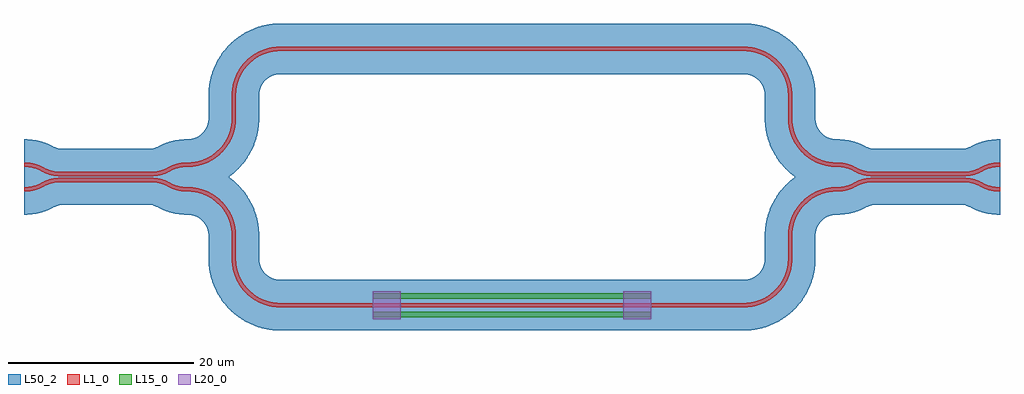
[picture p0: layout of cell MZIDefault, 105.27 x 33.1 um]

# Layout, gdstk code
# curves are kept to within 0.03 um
import gdstk
lib = gdstk.Library(unit=1e-6, precision=1e-09)
def R(c, l, rs):  # rectangles x0, y0, x1, y1
    for r in rs: c.add(gdstk.rectangle(r[:2], r[2:], *l))
def P(c, l, *ps):  # polygons
    for p in ps: c.add(gdstk.Polygon(p, *l))
L1_0 = (1, 0)
L15_0 = (15, 0)
L20_0 = (20, 0)
L50_2 = (50, 2)

mzidefault_coupler = lib.new_cell('MZIDefault_coupler')
P(mzidefault_coupler, L1_0, [(-8.818,1.1),(-8.282,1.075),(-7.81,0.986),(-7.299,0.811),(-6.2,0.305),(-5.676,0.17),(-5.206,0.11),(5.003,0.101),(5.542,0.147),(6.135,0.284),(7.299,0.811),(7.81,0.986),(8.282,1.075),(8.819,1.1),(8.819,1.55),(8.229,1.522),(7.632,1.404),(7.121,1.225),(6.058,0.732),(5.534,0.601),(5.056,0.552),(-5.236,0.563),(-6.115,0.752),(-7.502,1.366),(-8.028,1.492),(-8.566,1.547),(-8.818,1.55)],
  [(-8.818,-1.55),(-8.229,-1.522),(-7.632,-1.404),(-7.121,-1.225),(-6.058,-0.732),(-5.534,-0.601),(-5.056,-0.552),(5.236,-0.563),(6.115,-0.752),(7.502,-1.366),(8.028,-1.492),(8.566,-1.547),(8.819,-1.55),(8.819,-1.1),(8.282,-1.075),(7.81,-0.986),(7.299,-0.811),(6.2,-0.305),(5.676,-0.17),(5.206,-0.11),(-5.003,-0.101),(-5.542,-0.147),(-6.135,-0.284),(-7.299,-0.811),(-7.81,-0.986),(-8.282,-1.075),(-8.818,-1.1)])
P(mzidefault_coupler, L50_2, [(8.819,-1.55),(8.819,-4.05),(7.933,-4.004),(7.07,-3.842),(6.237,-3.565),(5.32,-3.123),(4.905,-3.05),(-5.024,-3.054),(-5.337,-3.13),(-6.339,-3.606),(-7.07,-3.842),(-7.933,-4.004),(-8.818,-4.05),(-8.818,4.05),(-7.933,4.004),(-7.07,3.842),(-6.237,3.565),(-5.32,3.123),(-4.905,3.05),(5.024,3.054),(5.337,3.13),(6.339,3.606),(7.07,3.842),(7.933,4.004),(8.819,4.05)])

mzidefault_phase_shifter = lib.new_cell('MZIDefault_phase_shifter')
R(mzidefault_phase_shifter, L1_0, [(0,-0.225,30,0.225)])
R(mzidefault_phase_shifter, L15_0, [(0,-1.3,30,-0.7), (0,0.7,30,1.3)])
R(mzidefault_phase_shifter, L20_0, [(0,-1.5,3,1.5), (27,-1.5,30,1.5)])
P(mzidefault_phase_shifter, L50_2, [(0,-2.725),(30,-2.725),(30,-0.225),(30,0.225),(30,2.725),(0,2.725),(0,0.225),(0,-0.225)])

c_mzidefault_phase_shifter = lib.new_cell('MZIDefault_phase_shifter_in_to_coupler_in_out1')
P(c_mzidefault_phase_shifter, L1_0, [(37.637,-12.275),(27.39,-12.269),(26.817,-12.204),(26.256,-12.071),(25.715,-11.871),(25.132,-11.565),(24.409,-11.019),(23.853,-10.412),(23.409,-9.719),(23.091,-8.96),(22.948,-8.401),(22.873,-7.829),(22.861,-4.91),(22.799,-4.192),(22.522,-3.147),(22.037,-2.182),(21.665,-1.672),(21.169,-1.149),(20.679,-0.752),(20.145,-0.416),(19.574,-0.147),(18.975,0.051),(18.267,0.187),(17.637,0.225),(17.637,-0.225),(18.294,-0.27),(19.018,-0.429),(19.709,-0.698),(20.35,-1.07),(21.156,-1.772),(21.745,-2.565),(22.13,-3.384),(22.367,-4.343),(22.411,-4.918),(22.424,-7.86),(22.506,-8.486),(22.69,-9.183),(23.053,-10.008),(23.552,-10.758),(24.172,-11.411),(24.895,-11.948),(25.534,-12.283),(26.126,-12.502),(26.829,-12.662),(27.457,-12.722),(37.637,-12.725)])
P(c_mzidefault_phase_shifter, L50_2, [(37.637,-9.775),(27.558,-9.774),(26.979,-9.678),(26.443,-9.437),(26.128,-9.203),(25.834,-8.887),(25.587,-8.487),(25.448,-8.12),(25.363,-7.579),(25.352,-4.6),(25.197,-3.411),(24.992,-2.638),(24.709,-1.89),(24.349,-1.176),(23.918,-0.503),(23.33,0.222),(22.659,0.87),(22.025,1.358),(21.227,1.84),(20.376,2.223),(19.486,2.501),(18.568,2.669),(17.637,2.725),(17.637,-2.725),(18.257,-2.811),(18.831,-3.063),(19.287,-3.434),(19.633,-3.908),(19.826,-4.38),(19.909,-4.882),(19.913,-7.633),(19.968,-8.431),(20.136,-9.349),(20.462,-10.364),(20.992,-11.439),(21.681,-12.42),(22.615,-13.37),(23.584,-14.076),(24.406,-14.517),(25.275,-14.855),(26.179,-15.086),(27.104,-15.207),(37.637,-15.225)])

c_mzidefault_phase_shifter_ = lib.new_cell('MZIDefault_phase_shifter_out_to_coupler_out_in1')
P(c_mzidefault_phase_shifter_, L1_0, [(67.637,-12.725),(77.997,-12.713),(78.623,-12.631),(79.32,-12.447),(79.904,-12.208),(80.455,-11.9),(81.169,-11.351),(81.778,-10.687),(82.264,-9.928),(82.584,-9.183),(82.768,-8.486),(82.85,-7.86),(82.863,-4.918),(82.907,-4.343),(83.144,-3.384),(83.529,-2.565),(84.118,-1.772),(84.924,-1.07),(85.565,-0.698),(86.256,-0.429),(86.98,-0.27),(87.637,-0.225),(87.637,0.225),(87.007,0.187),(86.299,0.051),(85.7,-0.147),(85.129,-0.416),(84.595,-0.752),(84.105,-1.149),(83.609,-1.672),(83.237,-2.182),(82.752,-3.147),(82.475,-4.192),(82.413,-4.91),(82.401,-7.829),(82.326,-8.401),(82.183,-8.96),(81.865,-9.719),(81.421,-10.412),(80.865,-11.019),(80.212,-11.521),(79.709,-11.802),(79.175,-12.02),(78.619,-12.173),(78.049,-12.257),(67.637,-12.275)])
P(c_mzidefault_phase_shifter_, L50_2, [(67.637,-15.225),(77.649,-15.225),(78.568,-15.169),(79.615,-14.968),(80.747,-14.572),(81.803,-14.005),(82.76,-13.282),(83.507,-12.522),(84.142,-11.666),(84.654,-10.731),(85.032,-9.735),(85.197,-9.089),(85.321,-8.299),(85.361,-7.633),(85.365,-4.882),(85.428,-4.456),(85.587,-4.013),(85.934,-3.491),(86.443,-3.063),(87.017,-2.811),(87.637,-2.725),(87.637,2.725),(86.706,2.669),(85.788,2.501),(84.898,2.223),(84.047,1.84),(83.249,1.358),(82.615,0.87),(81.944,0.222),(81.356,-0.503),(80.925,-1.176),(80.565,-1.89),(80.282,-2.638),(80.077,-3.411),(79.922,-4.6),(79.911,-7.579),(79.826,-8.12),(79.687,-8.487),(79.44,-8.887),(79.146,-9.203),(78.831,-9.437),(78.295,-9.678),(77.716,-9.774),(67.637,-9.775)])

mzidefault_coupler_in_ou = lib.new_cell('MZIDefault_coupler_in_out2_to_coupler_out_in2')
P(mzidefault_coupler_in_ou, L1_0, [(17.637,2.425),(18.267,2.463),(18.8,2.556),(19.32,2.703),(19.904,2.942),(20.379,3.202),(20.895,3.565),(21.3,3.924),(21.722,4.392),(22.085,4.908),(22.345,5.383),(22.584,5.967),(22.731,6.487),(22.859,7.47),(22.863,10.232),(22.907,10.807),(23.117,11.688),(23.488,12.514),(23.803,12.997),(24.174,13.438),(24.66,13.883),(25.202,14.258),(25.791,14.554),(26.414,14.766),(26.98,14.88),(27.638,14.925),(77.636,14.925),(78.619,14.823),(79.634,14.487),(80.072,14.258),(80.549,13.934),(80.925,13.613),(81.37,13.127),(81.939,12.222),(82.231,11.452),(82.386,10.644),(82.415,7.47),(82.506,6.664),(82.635,6.139),(82.854,5.547),(83.142,4.986),(83.496,4.463),(83.911,3.987),(84.45,3.509),(85.051,3.11),(85.7,2.797),(86.651,2.519),(87.637,2.425),(87.637,2.875),(86.574,2.995),(86.021,3.157),(85.491,3.384),(84.596,3.969),(84.174,4.362),(83.803,4.803),(83.529,5.215),(83.266,5.728),(83.066,6.269),(82.948,6.749),(82.865,7.485),(82.834,10.69),(82.664,11.575),(82.345,12.417),(82.085,12.892),(81.722,13.408),(81.3,13.876),(80.824,14.291),(80.379,14.598),(79.822,14.896),(79.32,15.097),(78.712,15.263),(77.638,15.375),(27.636,15.375),(27.007,15.337),(26.474,15.244),(25.954,15.097),(25.37,14.858),(24.895,14.598),(24.379,14.235),(23.911,13.813),(23.496,13.337),(23.189,12.892),(22.891,12.335),(22.69,11.833),(22.524,11.225),(22.415,10.33),(22.377,7.074),(22.183,6.19),(21.826,5.358),(21.567,4.937),(21.156,4.422),(20.35,3.72),(19.709,3.348),(19.018,3.079),(18.294,2.92),(17.637,2.875)])
P(mzidefault_coupler_in_ou, L50_2, [(17.637,-0.075),(18.436,-0.034),(19.356,0.119),(20.251,0.381),(20.989,0.69),(21.69,1.074),(22.454,1.61),(23.052,2.141),(23.677,2.833),(24.213,3.597),(24.597,4.298),(24.906,5.036),(25.168,5.931),(25.352,7.25),(25.365,10.268),(25.51,10.957),(25.787,11.474),(26.25,11.953),(26.794,12.263),(27.402,12.413),(77.872,12.413),(78.444,12.277),(78.961,12),(79.366,11.629),(79.687,11.137),(79.846,10.694),(79.909,10.268),(79.913,7.517),(79.953,6.851),(80.106,5.931),(80.368,5.036),(80.86,3.942),(81.515,2.938),(82.318,2.048),(83.14,1.369),(84.166,0.749),(85.275,0.295),(86.442,0.018),(87.637,-0.075),(87.637,5.375),(86.979,5.472),(86.377,5.756),(85.883,6.201),(85.524,6.807),(85.419,7.144),(85.365,7.532),(85.357,10.417),(85.223,11.608),(85.032,12.385),(84.761,13.137),(84.414,13.858),(83.995,14.538),(83.593,15.07),(83.052,15.659),(82.454,16.19),(81.915,16.582),(81.345,16.927),(80.624,17.274),(79.872,17.545),(79.226,17.71),(78.436,17.834),(77.649,17.875),(27.104,17.857),(26.048,17.71),(25.149,17.463),(24.285,17.11),(23.359,16.582),(22.615,16.02),(21.944,15.372),(21.279,14.538),(20.797,13.74),(20.282,12.512),(19.985,11.213),(19.913,10.283),(19.911,7.571),(19.778,6.88),(19.44,6.263),(18.961,5.8),(18.333,5.484),(17.637,5.375)])

mzidefault = lib.new_cell('MZIDefault')
mzidefault.add(gdstk.Reference(mzidefault_coupler, (8.818,1.325)))
mzidefault.add(gdstk.Reference(mzidefault_coupler, (96.455,1.325)))
mzidefault.add(gdstk.Reference(mzidefault_phase_shifter, (37.637,-12.5)))
mzidefault.add(gdstk.Reference(c_mzidefault_phase_shifter, (0,0)))
mzidefault.add(gdstk.Reference(c_mzidefault_phase_shifter_, (0,0)))
mzidefault.add(gdstk.Reference(mzidefault_coupler_in_ou, (0,0)))

lib.write_gds('MZIDefault.gds')
